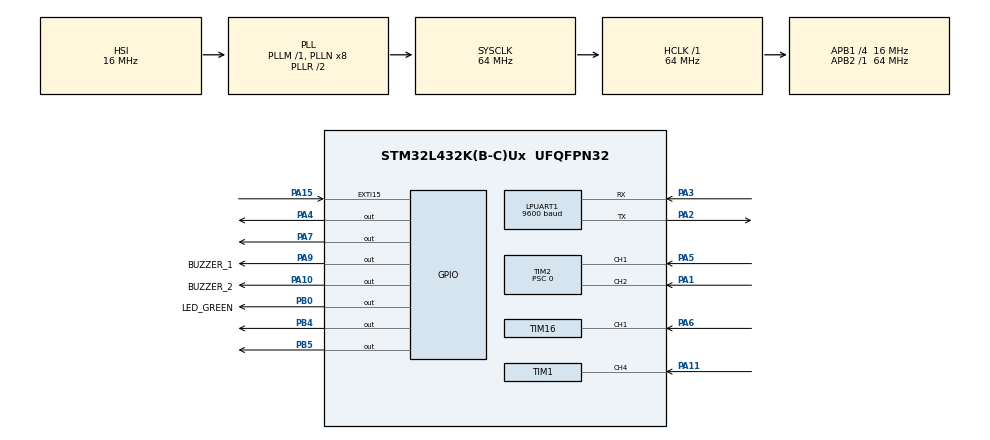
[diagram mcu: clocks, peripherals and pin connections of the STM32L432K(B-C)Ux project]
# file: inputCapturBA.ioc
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Mcu.Family=STM32L4
SH.S_TIM1_CH4.0=TIM1_CH4,Input_Capture4_from_TI4
RCC.CortexFreq_Value=64000000
TIM2.Channel-Input_Capture1_from_TI1=TIM_CHANNEL_1
NVIC.RTC_WKUP_IRQn=true\:0\:0\:false\:false\:true\:true\:true
VP_RTC_VS_RTC_Activate.Mode=RTC_Enabled
LPUART1.WordLength=UART_WORDLENGTH_8B
PB0.GPIO_Label=LED_GREEN
PA15\ (JTDI).Signal=GPXTI15
PC15-OSC32_OUT\ (PC15).Mode=LSE-External-Oscillator
RCC.SYSCLKSource=RCC_SYSCLKSOURCE_PLLCLK
ProjectManager.StackSize=0x400
PC14-OSC32_IN\ (PC14).Mode=LSE-External-Oscillator
PA14\ (JTCK-SWCLK).Signal=SYS_JTCK-SWCLK
RCC.LPUART1CLockSelection=RCC_LPUART1CLKSOURCE_HSI
RTC.SynchPrediv=255
TIM1.Prescaler=0
TIM2.ICPolarity_CH2=TIM_INPUTCHANNELPOLARITY_BOTHEDGE
TIM2.ICPolarity_CH1=TIM_INPUTCHANNELPOLARITY_RISING
RCC.HCLKFreq_Value=64000000
RCC.APB2TimFreq_Value=64000000
RCC.AHBFreq_Value=64000000
RCC.HSE_VALUE=8000000
NVIC.TIM2_IRQn=true\:0\:0\:false\:false\:true\:true\:true
PA10.GPIO_Label=BUZZER_2
RTC.AsynchPrediv=127
VP_TIM1_VS_ClockSourceINT.Mode=Internal
PA0.Signal=RTC_TAMP2
Mcu.Package=UFQFPN32
TIM2.Prescaler=0
PA6.Signal=S_TIM16_CH1
TIM2.Channel-Input_Capture2_from_TI2=TIM_CHANNEL_2
PA10.Signal=GPIO_Output
VP_RTC_VS_RTC_Calendar.Mode=RTC_Calendar
RCC.APB1TimFreq_Value=32000000
TIM1.ICPolarity_CH4=TIM_INPUTCHANNELPOLARITY_BOTHEDGE
TIM16.Prescaler=64-1
TIM16.ICPolarity_CH1=TIM_INPUTCHANNELPOLARITY_BOTHEDGE
PA13\ (JTMS-SWDIO).Signal=SYS_JTMS-SWDIO
TIM1.ICFilter_CH4=4
NVIC.RCC_IRQn=true\:0\:0\:false\:false\:true\:true\:false
RCC.HSI48_VALUE=48000000
PA3.Signal=LPUART1_RX
RCC.MSI_VALUE=4000000
RCC.PLLSourceVirtual=RCC_PLLSOURCE_HSI
PA14\ (JTCK-SWCLK).Mode=Serial_Wire
SH.S_TIM2_CH1.0=TIM2_CH1,Input_Capture1_from_TI1
PA9.GPIO_Label=BUZZER_1
SH.S_TIM16_CH1.0=TIM16_CH1,Input_Capture1_from_TI1
PC15-OSC32_OUT\ (PC15).Signal=RCC_OSC32_OUT
VP_TIM16_VS_ClockSourceINT.Mode=Enable_Timer
RCC.APB1CLKDivider=RCC_HCLK_DIV4
TIM16.Channel=TIM_CHANNEL_1
PA3.Mode=Asynchronous
SH.S_TIM2_CH2.0=TIM2_CH2,Input_Capture2_from_TI2
ProjectManager.TargetToolchain=STM32CubeIDE
PA9.Signal=GPIO_Output
TIM2.ICFilter_CH2=4
TIM2.ICFilter_CH1=4
RCC.USBFreq_Value=64000000
PA1.Signal=S_TIM2_CH2
PA5.Signal=S_TIM2_CH1
board=custom
RCC.VCOOutputFreq_Value=128000000
RCC.APB2Freq_Value=64000000
VP_TIM2_VS_ClockSourceINT.Mode=Internal
RCC.ADCFreq_Value=64000000
Mcu.Name=STM32L432K(B-C)Ux
LPUART1.BaudRate=9600
PA2.Signal=LPUART1_TX
NVIC.TIM1_CC_IRQn=true\:0\:0\:false\:false\:true\:true\:true
PA13\ (JTMS-SWDIO).Mode=Serial_Wire
PA4.Signal=GPIO_Output
RCC.SYSCLKFreq_VALUE=64000000
PB5.Signal=GPIO_Output
PC14-OSC32_IN\ (PC14).Signal=RCC_OSC32_IN
PA11.Signal=S_TIM1_CH4
VP_TIM15_VS_ClockSourceINT.Mode=Internal
ProjectManager.HeapSize=0x200
RCC.HSI_VALUE=16000000
VP_RTC_VS_RTC_WakeUp_intern.Mode=WakeUp
NVIC.TIM1_UP_TIM16_IRQn=true\:0\:0\:false\:false\:true\:true\:true
NVIC.PriorityGroup=NVIC_PRIORITYGROUP_4
PA2.Mode=Asynchronous
RCC.APB1Freq_Value=16000000
PB0.Signal=GPIO_Output
TIM1.Channel-Input_Capture4_from_TI4=TIM_CHANNEL_4
PA7.Signal=GPIO_Output
PB4\ (NJTRST).Signal=GPIO_Output

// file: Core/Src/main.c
/* USER CODE BEGIN Header */
/**
  ******************************************************************************
  * @file           : main.c
  * @brief          : Main program body
  ******************************************************************************
  * @attention
  *
  * <h2><center>&copy; Copyright (c) 2021 STMicroelectronics.
  * All rights reserved.</center></h2>
  *
  * This software component is licensed by ST under BSD 3-Clause license,
  * the "License"; You may not use this file except in compliance with the
  * License. You may obtain a copy of the License at:
  *                        opensource.org/licenses/BSD-3-Clause
  *
  ******************************************************************************
  */
/* USER CODE END Header */
#include "main.h"
#include "usart.h"
#include "rtc.h"
#include "tim.h"
#include "gpio.h"

/* USER CODE BEGIN Includes */
#include <string.h>
#include <stdio.h>
#include <stdlib.h>

#include "hcsr04.h"
#include "buzzer.h"
#include "led.h"
/* USER CODE END Includes */

/* USER CODE BEGIN PTD */
#define usTIM TIM1

/* USER CODE END PTD */

void SystemClock_Config(void);

/* USER CODE BEGIN 0 */
void   greenLED();
void   redLED();
void   MX_GPIO_Disable();

uint8_t LackOfObject(uint32_t time){

	uint32_t clk_Start = HAL_GetTick();

	if(clk_Start)
	do {
		// jesli jest obiekt w zasięgu to wyjdz
		if (sensorGetInputCapture(0) <= 400 || sensorGetInputCapture(1) <= 400 || sensorGetInputCapture(2) <= 400)
		{
			return 0;
		}

	}while (time < HAL_GetTick() - clk_Start);

	return 1;
}
/* USER CODE END 0 */

int main(void)
{

  /* MCU Configuration--------------------------------------------------------*/

  /* Reset of all peripherals, Initializes the Flash interface and the Systick. */
  HAL_Init();

  /* Configure the system clock */
  SystemClock_Config();

  /* Initialize all configured peripherals */
  MX_GPIO_Init();
  MX_TIM1_Init();
  MX_TIM2_Init();
  MX_RTC_Init();
  MX_TIM16_Init();
  MX_TIM15_Init();
  MX_LPUART1_UART_Init();
  /* USER CODE BEGIN 2 */
  HAL_TIM_Base_Start_IT(&htim16);
  HAL_TIM_Base_Start_IT(&htim2);
  /* USER CODE END 2 */

  /* Infinite loop */
  while (1)
  {

    /* USER CODE BEGIN 3 */
	  if (LackOfObject(2000) == 1 && IsSleeping == 0)
		  stm32l_lowPowerMode();

//	  stm32l_Resume();
	  uartOutput(); //distance output with uart of all 3 sensors

  }
  /* USER CODE END 3 */
}

void SystemClock_Config(void)
{
  RCC_OscInitTypeDef RCC_OscInitStruct = {0};
  RCC_ClkInitTypeDef RCC_ClkInitStruct = {0};
  RCC_PeriphCLKInitTypeDef PeriphClkInit = {0};

  /** Configure LSE Drive Capability
  */
  HAL_PWR_EnableBkUpAccess();
  __HAL_RCC_LSEDRIVE_CONFIG(RCC_LSEDRIVE_LOW);
  /** Initializes the RCC Oscillators according to the specified parameters
  * in the RCC_OscInitTypeDef structure.
  */
  RCC_OscInitStruct.OscillatorType = RCC_OSCILLATORTYPE_HSI|RCC_OSCILLATORTYPE_LSI
                              |RCC_OSCILLATORTYPE_LSE|RCC_OSCILLATORTYPE_MSI;
  RCC_OscInitStruct.LSEState = RCC_LSE_ON;
  RCC_OscInitStruct.HSIState = RCC_HSI_ON;
  RCC_OscInitStruct.HSICalibrationValue = RCC_HSICALIBRATION_DEFAULT;
  RCC_OscInitStruct.LSIState = RCC_LSI_ON;
  RCC_OscInitStruct.MSIState = RCC_MSI_ON;
  RCC_OscInitStruct.MSICalibrationValue = 0;
  RCC_OscInitStruct.MSIClockRange = RCC_MSIRANGE_6;
  RCC_OscInitStruct.PLL.PLLState = RCC_PLL_ON;
  RCC_OscInitStruct.PLL.PLLSource = RCC_PLLSOURCE_HSI;
  RCC_OscInitStruct.PLL.PLLM = 1;
  RCC_OscInitStruct.PLL.PLLN = 8;
  RCC_OscInitStruct.PLL.PLLP = RCC_PLLP_DIV7;
  RCC_OscInitStruct.PLL.PLLQ = RCC_PLLQ_DIV2;
  RCC_OscInitStruct.PLL.PLLR = RCC_PLLR_DIV2;
  if (HAL_RCC_OscConfig(&RCC_OscInitStruct) != HAL_OK)
  {
    Error_Handler();
  }
  /** Initializes the CPU, AHB and APB buses clocks
  */
  RCC_ClkInitStruct.ClockType = RCC_CLOCKTYPE_HCLK|RCC_CLOCKTYPE_SYSCLK
                              |RCC_CLOCKTYPE_PCLK1|RCC_CLOCKTYPE_PCLK2;
  RCC_ClkInitStruct.SYSCLKSource = RCC_SYSCLKSOURCE_PLLCLK;
  RCC_ClkInitStruct.AHBCLKDivider = RCC_SYSCLK_DIV1;
  RCC_ClkInitStruct.APB1CLKDivider = RCC_HCLK_DIV4;
  RCC_ClkInitStruct.APB2CLKDivider = RCC_HCLK_DIV1;

  if (HAL_RCC_ClockConfig(&RCC_ClkInitStruct, FLASH_LATENCY_3) != HAL_OK)
  {
    Error_Handler();
  }
  PeriphClkInit.PeriphClockSelection = RCC_PERIPHCLK_RTC|RCC_PERIPHCLK_LPUART1;
  PeriphClkInit.Lpuart1ClockSelection = RCC_LPUART1CLKSOURCE_HSI;
  PeriphClkInit.RTCClockSelection = RCC_RTCCLKSOURCE_LSI;
  if (HAL_RCCEx_PeriphCLKConfig(&PeriphClkInit) != HAL_OK)
  {
    Error_Handler();
  }
  /** Configure the main internal regulator output voltage
  */
  if (HAL_PWREx_ControlVoltageScaling(PWR_REGULATOR_VOLTAGE_SCALE1) != HAL_OK)
  {
    Error_Handler();
  }
  /** Enable MSI Auto calibration
  */
  HAL_RCCEx_EnableMSIPLLMode();
}

/* USER CODE BEGIN 4 */

void HAL_GPIO_EXTI_Callback(uint16_t GPIO_Pin)
{

	if(GPIO_Pin == GPIO_PIN_15)
	{
		//HAL_SuspendTick();
		__HAL_PWR_CLEAR_FLAG(PWR_FLAG_WU);

	}

	if(IsSleeping == 1)
	{
		stm32l_Resume();
	}
}

/* USER CODE END 4 */

void Error_Handler(void)
{
  __disable_irq();
  while (1)
  {
  }
}

/************************ (C) COPYRIGHT STMicroelectronics *****END OF FILE****/
